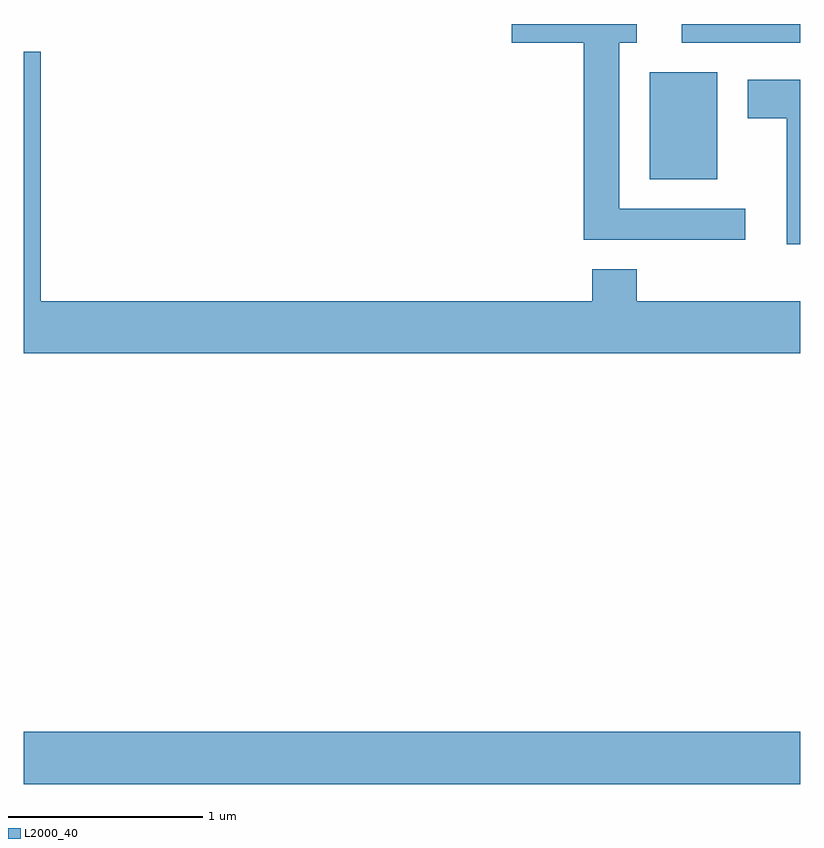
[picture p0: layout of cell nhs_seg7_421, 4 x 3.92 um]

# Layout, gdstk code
import gdstk
lib = gdstk.Library(unit=1e-6, precision=1e-09)
def R(c, l, rs):  # rectangles x0, y0, x1, y1
    for r in rs: c.add(gdstk.rectangle(r[:2], r[2:], *l))
def P(c, l, *ps):  # polygons
    for p in ps: c.add(gdstk.Polygon(p, *l))
L2000_40 = (2000, 40)

nhs_seg7_421 = lib.new_cell('nhs_seg7_421')
R(nhs_seg7_421, L2000_40, [(197.611,1694.336,201.611,1694.604), (200.836,1697.451,201.184,1698.004), (201.001,1698.156,201.611,1698.252)])
P(nhs_seg7_421, L2000_40, [(201.328,1697.299),(200.679,1697.299),(200.679,1698.156),(200.769,1698.156),(200.769,1698.252),(200.126,1698.252),(200.126,1698.156),(200.496,1698.156),(200.496,1697.141),(201.328,1697.141)],
  [(201.611,1696.824),(200.769,1696.824),(200.769,1696.989),(200.541,1696.989),(200.541,1696.824),(197.699,1696.824),(197.699,1698.109),(197.611,1698.109),(197.611,1696.556),(201.611,1696.556)],
  [(201.611,1697.964),(201.341,1697.964),(201.341,1697.766),(201.541,1697.766),(201.541,1697.116),(201.611,1697.116)])

lib.write_gds('nhs_seg7_421.gds')
